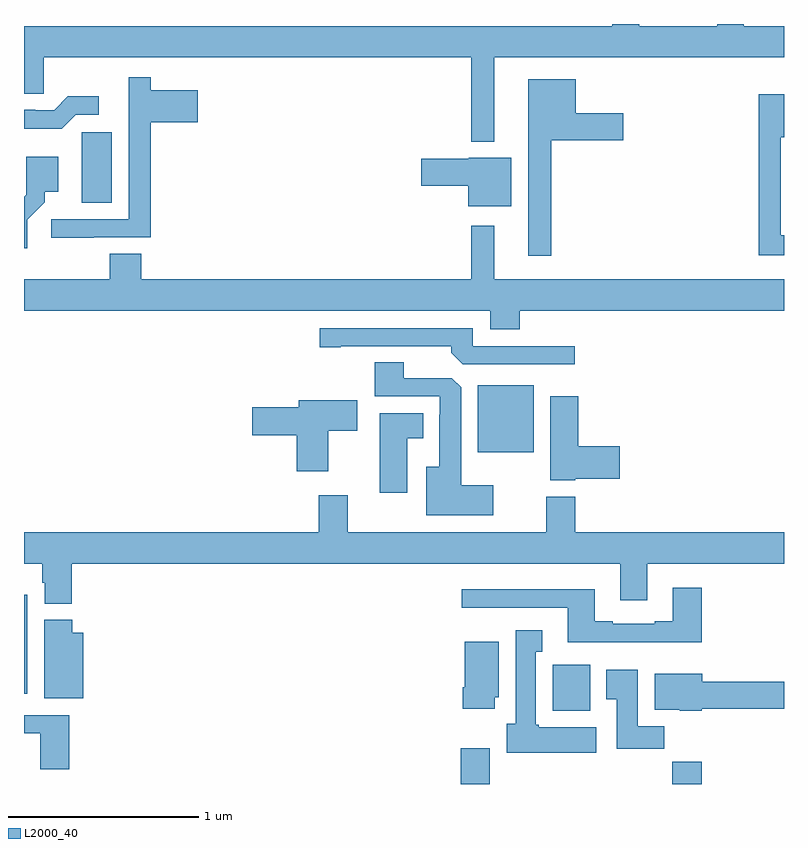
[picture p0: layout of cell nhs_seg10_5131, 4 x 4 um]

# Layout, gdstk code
import gdstk
lib = gdstk.Library(unit=1e-6, precision=1e-09)
def R(c, l, rs):  # rectangles x0, y0, x1, y1
    for r in rs: c.add(gdstk.rectangle(r[:2], r[2:], *l))
def P(c, l, *ps):  # polygons
    for p in ps: c.add(gdstk.Polygon(p, *l))
L2000_40 = (2000, 40)

nhs_seg10_5131 = lib.new_cell('nhs_seg10_5131')
R(nhs_seg10_5131, L2000_40, [(411.299,1288.5,411.451,1288.687), (412.411,1288.5,412.568,1288.616), (411.782,1288.886,411.979,1289.128), (409,1288.976,409.018,1289.497), (411.389,1290.245,411.682,1290.598), (409.304,1291.558,409.462,1291.929)])
P(nhs_seg10_5131, L2000_40, [(411.475,1292.324),(413,1292.324),(413,1292.488),(412.789,1292.488),(412.789,1292.5),(412.649,1292.5),(412.649,1292.488),(412.237,1292.488),(412.237,1292.5),(412.097,1292.5),(412.097,1292.488),(409,1292.488),(409,1292.134),(409.104,1292.134),(409.104,1292.324),(411.354,1292.324),(411.354,1291.88),(411.475,1291.88)],
  [(409.367,1291.377),(409.667,1291.377),(409.667,1291.982),(409.915,1291.982),(409.915,1292.152),(409.667,1292.152),(409.667,1292.221),(409.55,1292.221),(409.55,1291.998),(409.551,1291.998),(409.551,1291.473),(409.143,1291.473),(409.143,1291.375),(409.367,1291.375)],
  [(411.775,1291.889),(412.153,1291.889),(412.153,1292.031),(411.904,1292.031),(411.904,1292.209),(411.653,1292.209),(411.653,1291.281),(411.775,1291.281)],
  [(413,1291.389),(412.983,1291.389),(412.983,1291.905),(413,1291.905),(413,1292.131),(412.867,1292.131),(412.867,1291.284),(413,1291.284)],
  [(409.272,1292.022),(409.393,1292.022),(409.393,1292.119),(409.231,1292.119),(409.158,1292.046),(409.058,1292.046),(409.058,1292.049),(409,1292.049),(409,1291.95),(409.199,1291.95)],
  [(409.018,1291.471),(409.108,1291.561),(409.108,1291.616),(409.18,1291.616),(409.18,1291.801),(409.013,1291.801),(409.013,1291.752),(409.011,1291.752),(409.011,1291.601),(409,1291.59),(409,1291.32),(409.018,1291.32)],
  [(411.565,1291.795),(411.342,1291.795),(411.342,1291.79),(411.09,1291.79),(411.09,1291.648),(411.338,1291.648),(411.338,1291.541),(411.565,1291.541)],
  [(411.608,1290.992),(413,1290.992),(413,1291.156),(411.475,1291.156),(411.475,1291.438),(411.354,1291.438),(411.354,1291.156),(409.616,1291.156),(409.616,1291.292),(409.451,1291.292),(409.451,1291.156),(409,1291.156),(409,1290.992),(411.455,1290.992),(411.455,1290.893),(411.608,1290.893)],
  [(411.898,1290.804),(411.363,1290.804),(411.363,1290.9),(410.556,1290.9),(410.556,1290.799),(410.668,1290.799),(410.668,1290.804),(411.248,1290.804),(411.248,1290.77),(411.309,1290.708),(411.898,1290.708)],
  [(411.469,1290.073),(411.301,1290.073),(411.301,1290.587),(411.252,1290.636),(410.998,1290.636),(410.998,1290.719),(410.846,1290.719),(410.846,1290.54),(411.189,1290.54),(411.189,1290.443),(411.185,1290.443),(411.185,1290.169),(411.116,1290.169),(411.116,1289.915),(411.469,1289.915)],
  [(411.9,1290.107),(412.135,1290.107),(412.135,1290.278),(411.917,1290.278),(411.917,1290.541),(411.77,1290.541),(411.77,1290.098),(411.9,1290.098)],
  [(410.602,1290.358),(410.755,1290.358),(410.755,1290.52),(410.447,1290.52),(410.447,1290.482),(410.202,1290.482),(410.202,1290.335),(410.435,1290.335),(410.435,1290.147),(410.602,1290.147)],
  [(411.016,1290.32),(411.1,1290.32),(411.1,1290.451),(410.873,1290.451),(410.873,1290.033),(411.016,1290.033)],
  [(409.25,1289.66),(412.139,1289.66),(412.139,1289.466),(412.279,1289.466),(412.279,1289.66),(413,1289.66),(413,1289.824),(411.902,1289.824),(411.902,1290.013),(411.749,1290.013),(411.749,1289.824),(410.704,1289.824),(410.704,1290.019),(410.552,1290.019),(410.552,1289.824),(409,1289.824),(409,1289.66),(409.097,1289.66),(409.097,1289.559),(409.109,1289.559),(409.109,1289.449),(409.25,1289.449)],
  [(412.568,1289.533),(412.415,1289.533),(412.415,1289.356),(412.319,1289.356),(412.319,1289.343),(412.099,1289.343),(412.099,1289.356),(412.003,1289.356),(412.003,1289.524),(411.303,1289.524),(411.303,1289.427),(411.863,1289.427),(411.863,1289.246),(412.568,1289.246)],
  [(409.312,1289.296),(409.253,1289.296),(409.253,1289.364),(409.106,1289.364),(409.106,1288.952),(409.312,1288.952)],
  [(412.012,1288.798),(411.708,1288.798),(411.708,1288.812),(411.694,1288.812),(411.694,1289.195),(411.727,1289.195),(411.727,1289.308),(411.587,1289.308),(411.587,1288.818),(411.542,1288.818),(411.542,1288.664),(412.012,1288.664)],
  [(411.478,1288.956),(411.499,1288.956),(411.499,1289.248),(411.32,1289.248),(411.32,1289.008),(411.308,1289.008),(411.308,1288.896),(411.478,1288.896)],
  [(412.37,1288.804),(412.231,1288.804),(412.231,1289.101),(412.064,1289.101),(412.064,1288.945),(412.121,1288.945),(412.121,1288.686),(412.37,1288.686)],
  [(412.566,1288.897),(413,1288.897),(413,1289.039),(412.57,1289.039),(412.57,1289.08),(412.319,1289.08),(412.319,1288.892),(412.452,1288.892),(412.452,1288.886),(412.566,1288.886)],
  [(409.238,1288.863),(409,1288.863),(409,1288.767),(409.085,1288.767),(409.085,1288.578),(409.238,1288.578)])

lib.write_gds('nhs_seg10_5131.gds')
